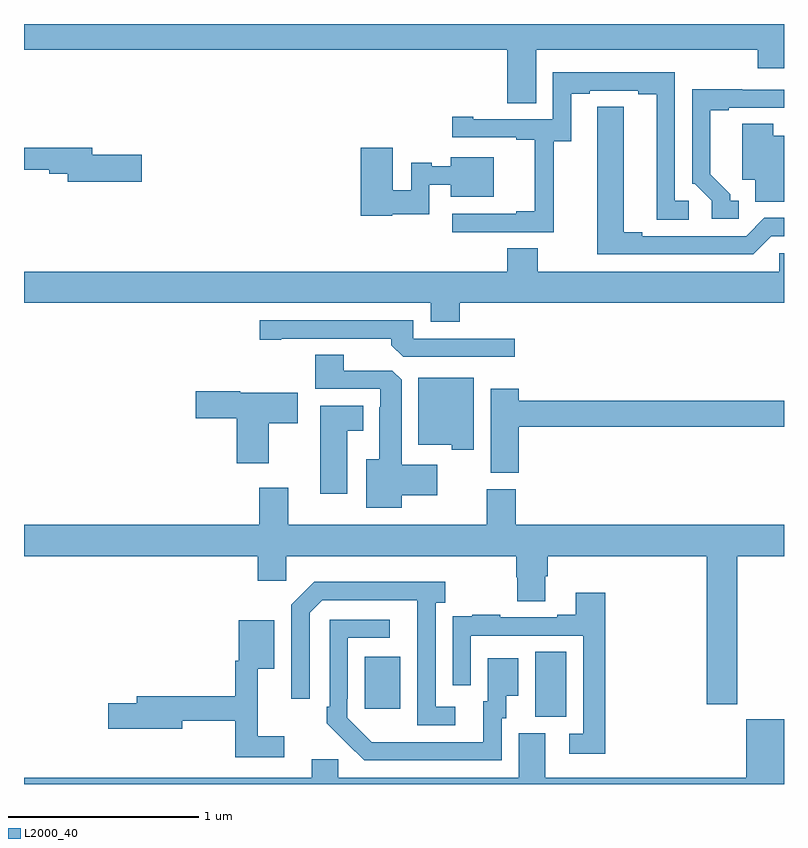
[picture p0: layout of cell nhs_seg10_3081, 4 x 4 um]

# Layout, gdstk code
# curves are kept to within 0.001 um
import gdstk
lib = gdstk.Library(unit=1e-6, precision=1e-09)
def R(c, l, rs):  # rectangles x0, y0, x1, y1
    for r in rs: c.add(gdstk.rectangle(r[:2], r[2:], *l))
def P(c, l, *ps):  # polygons
    for p in ps: c.add(gdstk.Polygon(p, *l))
L2000_40 = (2000, 40)

nhs_seg10_3081 = lib.new_cell('nhs_seg10_3081')
R(nhs_seg10_3081, L2000_40, [(281.69,1248.853,281.854,1249.196), (280.793,1248.897,280.981,1249.171)])
P(nhs_seg10_3081, L2000_40, [(281.695,1252.364),(282.863,1252.364),(282.863,1252.266),(283,1252.266),(283,1252.5),(279,1252.5),(279,1252.364),(281.543,1252.364),(281.543,1252.084),(281.695,1252.084)],
  [(281.787,1251.883),(281.881,1251.883),(281.881,1252.134),(281.977,1252.134),(281.977,1252.149),(282.233,1252.149),(282.233,1252.129),(282.329,1252.129),(282.329,1251.469),(282.499,1251.469),(282.499,1251.57),(282.426,1251.57),(282.426,1252.245),(281.784,1252.245),(281.784,1251.999),(281.365,1251.999),(281.365,1252.012),(281.253,1252.012),(281.253,1251.903),(281.591,1251.903),(281.591,1251.891),(281.687,1251.891),(281.687,1251.514),(281.591,1251.514),(281.591,1251.501),(281.253,1251.501),(281.253,1251.405),(281.787,1251.405)],
  [(282.763,1251.57),(282.718,1251.57),(282.718,1251.605),(282.613,1251.71),(282.613,1252.047),(282.709,1252.047),(282.709,1252.059),(283,1252.058),(283,1252.155),(282.779,1252.155),(282.779,1252.157),(282.516,1252.157),(282.516,1251.66),(282.531,1251.66),(282.621,1251.57),(282.621,1251.474),(282.763,1251.474)],
  [(282.933,1251.384),(283,1251.384),(283,1251.48),(282.897,1251.48),(282.801,1251.384),(282.253,1251.384),(282.253,1251.404),(282.157,1251.404),(282.157,1252.064),(282.018,1252.064),(282.017,1251.288),(282.837,1251.288)],
  [(283,1251.913),(282.943,1251.913),(282.943,1251.974),(282.779,1251.974),(282.779,1251.68),(282.848,1251.68),(282.848,1251.565),(283,1251.565)],
  [(280.938,1251.498),(281.133,1251.498),(281.133,1251.653),(281.246,1251.653),(281.246,1251.59),(281.473,1251.59),(281.473,1251.799),(281.246,1251.799),(281.246,1251.751),(281.145,1251.751),(281.145,1251.77),(281.037,1251.77),(281.037,1251.626),(280.942,1251.626),(280.942,1251.85),(280.772,1251.85),(280.772,1251.49),(280.938,1251.49)],
  [(279.619,1251.812),(279.358,1251.812),(279.358,1251.848),(279,1251.848),(279,1251.732),(279.134,1251.732),(279.134,1251.712),(279.23,1251.712),(279.23,1251.67),(279.619,1251.67)],
  [(281.294,1251.032),(283,1251.032),(283,1251.294),(282.975,1251.294),(282.975,1251.196),(281.703,1251.196),(281.703,1251.32),(281.543,1251.32),(281.543,1251.196),(279,1251.196),(279,1251.032),(281.141,1251.032),(281.141,1250.933),(281.294,1250.933)],
  [(281.584,1250.844),(281.049,1250.844),(281.049,1250.94),(280.242,1250.94),(280.242,1250.839),(280.354,1250.839),(280.354,1250.844),(280.934,1250.844),(280.934,1250.81),(280.995,1250.748),(281.584,1250.748)],
  [(280.987,1250.021),(281.176,1250.021),(281.176,1250.179),(280.987,1250.179),(280.987,1250.627),(280.938,1250.676),(280.684,1250.676),(280.684,1250.759),(280.532,1250.759),(280.532,1250.58),(280.875,1250.58),(280.875,1250.483),(280.871,1250.483),(280.871,1250.209),(280.802,1250.209),(280.802,1249.955),(280.987,1249.955)],
  [(281.368,1250.638),(281.075,1250.638),(281.075,1250.285),(281.25,1250.285),(281.25,1250.258),(281.368,1250.258)],
  [(281.603,1250.38),(283,1250.38),(283,1250.516),(281.603,1250.516),(281.603,1250.581),(281.456,1250.581),(281.456,1250.137),(281.603,1250.137)],
  [(280.288,1250.398),(280.441,1250.398),(280.441,1250.56),(280.137,1250.56),(280.137,1250.568),(279.903,1250.568),(279.903,1250.426),(280.121,1250.426),(280.121,1250.187),(280.288,1250.187)],
  [(280.702,1250.36),(280.786,1250.36),(280.786,1250.491),(280.559,1250.491),(280.559,1250.028),(280.702,1250.028)],
  [(282.753,1249.7),(283,1249.7),(283,1249.864),(281.588,1249.864),(281.588,1250.052),(281.435,1250.052),(281.435,1249.864),(280.39,1249.864),(280.39,1250.059),(280.238,1250.059),(280.238,1249.864),(279,1249.864),(279,1249.7),(280.229,1249.7),(280.229,1249.569),(280.38,1249.569),(280.38,1249.7),(281.591,1249.7),(281.591,1249.587),(281.596,1249.587),(281.596,1249.462),(281.743,1249.462),(281.743,1249.594),(281.756,1249.594),(281.756,1249.7),(282.593,1249.7),(282.593,1248.921),(282.753,1248.921)],
  [(281.269,1248.906),(281.166,1248.906),(281.166,1249.454),(281.218,1249.454),(281.218,1249.564),(280.528,1249.564),(280.407,1249.443),(280.407,1248.948),(280.503,1248.948),(280.503,1249.401),(280.569,1249.467),(281.069,1249.467),(281.07,1248.81),(281.269,1248.81)],
  [(282.059,1249.507),(281.903,1249.507),(281.903,1249.39),(281.807,1249.39),(281.807,1249.377),(281.507,1249.377),(281.507,1249.39),(281.359,1249.39),(281.359,1249.383),(281.257,1249.383),(281.257,1249.274),(281.256,1249.274),(281.256,1249.02),(281.352,1249.02),(281.352,1249.281),(281.943,1249.281),(281.943,1248.765),(281.871,1248.765),(281.871,1248.66),(282.059,1248.66)],
  [(281.514,1248.846),(281.539,1248.846),(281.539,1248.965),(281.602,1248.965),(281.602,1249.162),(281.441,1249.162),(281.441,1248.936),(281.417,1248.936),(281.417,1248.72),(280.83,1248.721),(280.701,1248.849),(280.701,1248.949),(280.704,1248.949),(280.704,1249.269),(280.924,1249.269),(280.924,1249.365),(280.608,1249.365),(280.608,1248.907),(280.593,1248.907),(280.593,1248.819),(280.79,1248.624),(281.514,1248.624)],
  [(280.369,1248.751),(280.229,1248.751),(280.229,1249.106),(280.318,1249.106),(280.318,1249.363),(280.13,1249.363),(280.13,1249.149),(280.111,1249.149),(280.111,1248.962),(279.593,1248.962),(279.593,1248.926),(279.444,1248.926),(279.444,1248.791),(279.832,1248.791),(279.832,1248.834),(280.111,1248.834),(280.111,1248.642),(280.369,1248.642)],
  [(283,1248.841),(282.8,1248.841),(282.8,1248.532),(281.743,1248.532),(281.743,1248.768),(281.603,1248.768),(281.603,1248.532),(280.653,1248.532),(280.653,1248.63),(280.514,1248.63),(280.514,1248.532),(279,1248.532),(279,1248.5),(283,1248.5)])

lib.write_gds('nhs_seg10_3081.gds')
